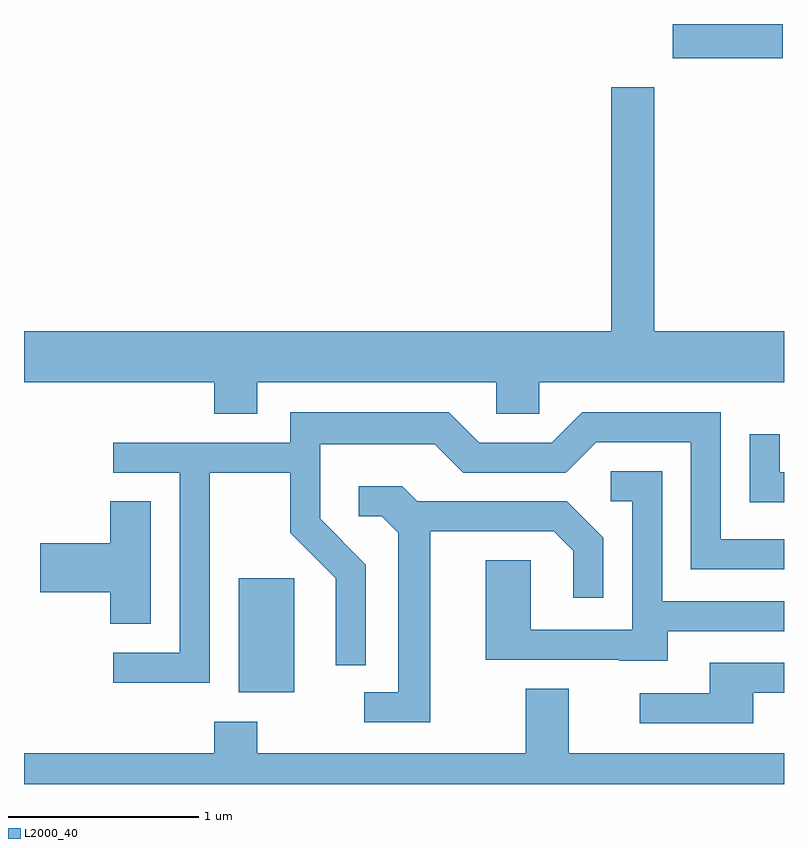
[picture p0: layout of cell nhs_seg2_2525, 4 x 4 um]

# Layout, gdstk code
import gdstk
lib = gdstk.Library(unit=1e-6, precision=1e-09)
def R(c, l, rs):  # rectangles x0, y0, x1, y1
    for r in rs: c.add(gdstk.rectangle(r[:2], r[2:], *l))
def P(c, l, *ps):  # polygons
    for p in ps: c.add(gdstk.Polygon(p, *l))
L2000_40 = (2000, 40)

nhs_seg2_2525 = lib.new_cell('nhs_seg2_2525')
R(nhs_seg2_2525, L2000_40, [(260.741,1002.286,261.034,1002.884), (263.026,1005.621,263.604,1005.802)])
P(nhs_seg2_2525, L2000_40, [(260.839,1003.916),(262.096,1003.916),(262.096,1003.751),(262.324,1003.751),(262.324,1003.916),(263.611,1003.916),(263.611,1004.184),(262.929,1004.184),(262.929,1005.469),(262.701,1005.469),(262.701,1004.184),(259.611,1004.184),(259.611,1003.916),(260.611,1003.916),(260.611,1003.751),(260.839,1003.751)],
  [(260.589,1003.441),(261.011,1003.441),(261.011,1003.124),(261.251,1002.884),(261.251,1002.428),(261.409,1002.428),(261.409,1002.957),(261.169,1003.197),(261.169,1003.591),(261.774,1003.591),(261.924,1003.441),(262.462,1003.441),(262.622,1003.601),(263.121,1003.601),(263.121,1002.931),(263.611,1002.931),(263.611,1003.089),(263.279,1003.089),(263.279,1003.759),(262.549,1003.759),(262.389,1003.599),(262.007,1003.599),(261.847,1003.759),(261.011,1003.759),(261.011,1003.599),(260.082,1003.599),(260.082,1003.441),(260.431,1003.441),(260.431,1002.494),(260.082,1002.494),(260.082,1002.336),(260.589,1002.336)],
  [(263.611,1003.444),(263.589,1003.444),(263.589,1003.643),(263.431,1003.643),(263.431,1003.286),(263.611,1003.286)],
  [(262.999,1002.606),(263.611,1002.606),(263.611,1002.764),(262.969,1002.764),(262.969,1003.449),(262.698,1003.449),(262.698,1003.291),(262.811,1003.291),(262.811,1002.614),(262.279,1002.614),(262.279,1002.979),(262.041,1002.979),(262.041,1002.456),(262.745,1002.456),(262.745,1002.451),(262.999,1002.451)],
  [(261.749,1003.131),(262.399,1003.131),(262.501,1003.029),(262.501,1002.783),(262.659,1002.783),(262.659,1003.097),(262.467,1003.289),(261.682,1003.289),(261.602,1003.369),(261.373,1003.369),(261.373,1003.211),(261.493,1003.211),(261.581,1003.124),(261.581,1002.284),(261.403,1002.284),(261.403,1002.126),(261.749,1002.126)],
  [(260.279,1003.289),(260.066,1003.289),(260.066,1003.069),(259.696,1003.069),(259.696,1002.811),(260.066,1002.811),(260.066,1002.646),(260.279,1002.646)],
  [(263.449,1002.281),(263.611,1002.281),(263.611,1002.439),(263.221,1002.439),(263.221,1002.279),(262.853,1002.279),(262.853,1002.121),(263.449,1002.121)],
  [(263.611,1001.964),(262.479,1001.964),(262.479,1002.304),(262.251,1002.304),(262.251,1001.964),(260.839,1001.964),(260.839,1002.129),(260.611,1002.129),(260.611,1001.964),(259.611,1001.964),(259.611,1001.802),(263.611,1001.802)])

lib.write_gds('nhs_seg2_2525.gds')
